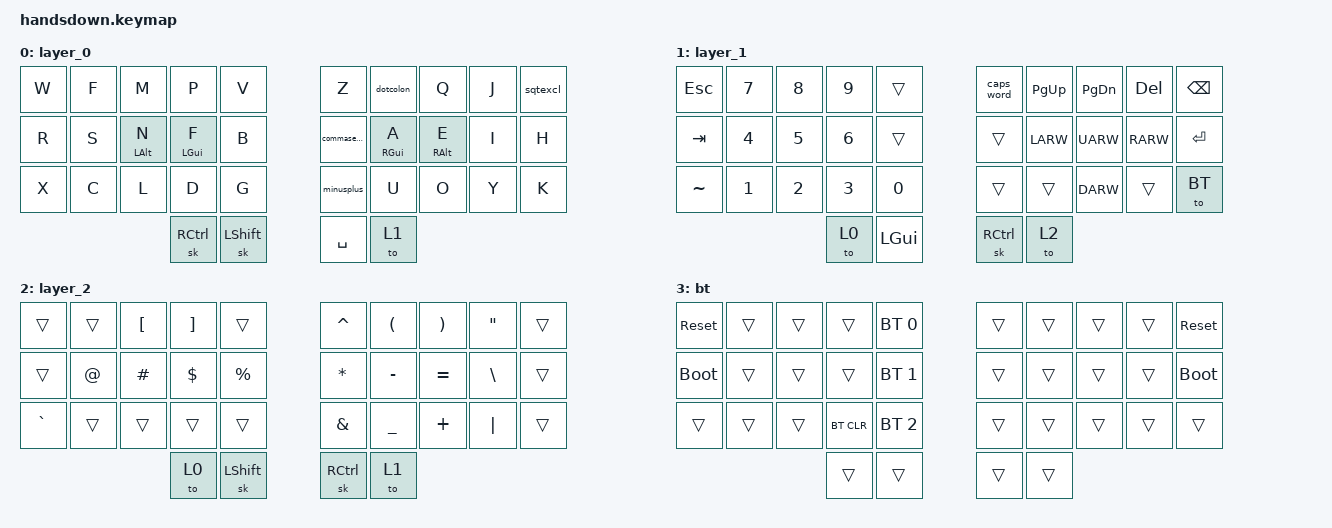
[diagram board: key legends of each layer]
/*
 * Copyright (c) 2020 The ZMK Contributors
 *
 * SPDX-License-Identifier: MIT
 */

#include <behaviors.dtsi>
#include <dt-bindings/zmk/keys.h>
#include <dt-bindings/zmk/bt.h>

#define BT 3


&mt {
    flavor = "tap-preferred";
    tapping_term_ms = <200>;
};

&mmv {
   time-to-max-speed-ms = <680>;
   acceleration-exponent=<1>;
};

/ {
    behaviors {
        hm: homerow_mods {
            compatible = "zmk,behavior-hold-tap";
            label = "HOMEROW_MODS";
            #binding-cells = <2>;
            tapping-term-ms = <200>;
            quick_tap_ms = <0>;
            flavor = "tap-preferred";
            bindings = <&kp>, <&kp>;
        };
	    td: tapdance {
            compatible = "zmk,behavior-hold-tap";
            label = "TAPDANCE";
            #binding-cells = <2>;
            tapping-term-ms = <150>;
            quick_tap_ms = <0>;
            flavor = "tap-preferred";
            bindings = <&kp>, <&kp>;
        };
        dotcolon: dot_colon {
            compatible = "zmk,behavior-mod-morph";
            label = "DOT_COLON";
            #binding-cells = <0>;
            bindings = <&kp DOT>, <&kp COLON>;
            mods = <(MOD_LSFT|MOD_RSFT)>;
        };
        sqtexcl: single_quote_excl {
            compatible = "zmk,behavior-mod-morph";
            label = "SINGLE_QUOTE_EXCL";
            #binding-cells = <0>;
            bindings = <&kp SQT>, <&kp EXCL>;
            mods = <(MOD_LSFT|MOD_RSFT)>;
        };
        commasemi: comma_semi {
            compatible = "zmk,behavior-mod-morph";
            label = "COMMA_SEMI";
            #binding-cells = <0>;
            bindings = <&kp COMMA>, <&kp SEMI>;
            mods = <(MOD_LSFT|MOD_RSFT)>;
        };
        minusplus: minus_plus {
            compatible = "zmk,behavior-mod-morph";
            label = "MINUS_PLUS";
            #binding-cells = <0>;
            bindings = <&kp MINUS>, <&kp PLUS>;
            mods = <(MOD_LSFT|MOD_RSFT)>;
        };
    };

	keymap {
        compatible = "zmk,keymap";
        layer_0 {
            bindings = <
        //╭──────────┬──────────┬──────────┬──────────┬──────────╮   ╭──────────┬──────────┬──────────┬──────────┬──────────╮
        //│  W       │  F       │  M       │  P       │  V       │   │  Z       │  . :     │  Q       │  J       │  ' !     │
            &kp W      &kp F      &kp M      &kp P      &kp V          &kp Z     &dotcolon   &kp Q      &kp J      &sqtexcl
        //├──────────┼──────────┼──────────┼──────────┼──────────┤   ├──────────┼──────────┼──────────┼──────────┼──────────┤
        //│  R       │  S       │  N       │  T       │  B       │   │  , ;     │  A       │  E       │  I       │ H        │
            &kp R      &kp S     &hm LALT N &hm LGUI F  &kp B         &commasemi &hm RGUI A &hm RALT E  &kp I      &kp H
        //├──────────┼──────────┼──────────┼──────────┼──────────┤   ├──────────┼──────────┼──────────┼──────────┼──────────┤
        //│  X       │  C       │  L       │  D       │  G       │   │  - +     │  U       │ O        │ Y        │ K        │
            &kp X      &kp C      &kp L      &kp D      &kp G         &minusplus  &kp U      &kp O      &kp Y      &kp K
        //╰──────────┴──────────┴──────────┼──────────┼──────────┤   ├──────────┼──────────┼──────────┴──────────┴──────────╯
                                            &sk RCTRL  &sk LSHIFT     &kp SPACE   &to 1
        //                                 ╰──────────┴──────────╯   ╰──────────┴──────────╯
            >;
        };

        layer_1 {
            bindings = <
        //╭──────────┬──────────┬──────────┬──────────┬──────────╮   ╭──────────┬──────────┬──────────┬──────────┬──────────╮
        //│ ESC      │  7       │  8       │  9       │          │   │ CAPS     │ PAGE UP  │ PAGE DN  │ DELETE   │  BKSP    │
            &kp ESC    &kp N7     &kp N8     &kp N9     &trans        &caps_word &kp PG_UP  &kp PG_DN   &kp DEL    &kp BKSP
        //├──────────┼──────────┼──────────┼──────────┼──────────┤   ├──────────┼──────────┼──────────┼──────────┼──────────┤
        //│ TAB      │  4       │  5       │  6       │          │   │          │ LEFT     │ UP       │ RIGHT    │  ENTER   │
            &kp TAB    &kp N4     &kp N5     &kp N6     &trans         &trans    &kp LARW   &kp UARW   &kp RARW   &kp ENTER
        //├──────────┼──────────┼──────────┼──────────┼──────────┤   ├──────────┼──────────┼──────────┼──────────┼──────────┤
        //│ ~        │  1       │  2       │  3       │  0       │   │          │          │ DOWN     │          │          │
           &kp TILDE   &kp N1     &kp N2     &kp N3     &kp N0         &trans     &trans     &kp DARW   &trans     &to BT
        //╰──────────┴──────────┴──────────┼──────────┼──────────┤   ├──────────┼──────────┼──────────┴──────────┴──────────╯
                                             &to 0      &kp LGUI       &sk RCTRL  &to 2
        //                                 ╰──────────┴──────────╯   ╰──────────┴──────────╯
            >;
		};
		
		layer_2 {
		    bindings = <
        //╭──────────┬──────────┬──────────┬──────────┬──────────╮   ╭──────────┬──────────┬──────────┬──────────┬──────────╮
        //│          │          │  [ {     │  ] }     │          │   │  ^       │  (       │  )       │  "       │          │
            &trans     &trans     &kp LBKT   &kp RBKT   &trans         &kp CARET  &kp LPAR   &kp RPAR   &kp DQT    &trans
        //├──────────┼──────────┼──────────┼──────────┼──────────┤   ├──────────┼──────────┼──────────┼──────────┼──────────┤
        //│          │  @       │  #       │  $       │  %       │   │  *       │  -       │  =       │  \       │          │
            &trans     &kp AT     &kp HASH   &kp DLLR   &kp PRCNT      &kp ASTRK  &kp MINUS  &kp EQUAL  &kp BSLH   &trans
        //├──────────┼──────────┼──────────┼──────────┼──────────┤   ├──────────┼──────────┼──────────┼──────────┼──────────┤
        //│  `       │          │          │          │          │   │  &       │  _       │  +       │  │       │          │
            &kp GRAVE  &trans     &trans     &trans     &trans         &kp AMPS   &kp UNDER  &kp PLUS   &kp PIPE   &trans
        //╰──────────┴──────────┴──────────┼──────────┼──────────┤   ├──────────┼──────────┼──────────┴──────────┴──────────╯
                                             &to 0     &sk LSHIFT      &sk RCTRL  &to 1
        //                                 ╰──────────┴──────────╯   ╰──────────┴──────────╯
            >;
		};

		bt {
            bindings = <
        //╭──────────┬──────────┬──────────┬──────────┬──────────╮   ╭──────────┬──────────┬──────────┬──────────┬──────────╮
        //│ RESET    │          │          │          │PROFILE 0 │   │          │          │          │          │  RESET   │
           &sys_reset  &trans     &trans     &trans    &bt BT_SEL 0    &trans     &trans     &trans     &trans    &sys_reset
        //├──────────┼──────────┼──────────┼──────────┼──────────┤   ├──────────┼──────────┼──────────┼──────────┼──────────┤
        //│BOOTLOADER│          │          │          │PROFILE 1 │   │          │          │          │          │BOOTLOADER│
          &bootloader  &trans     &trans     &trans    &bt BT_SEL 1    &trans     &trans     &trans     &trans    &bootloader
        //├──────────┼──────────┼──────────┼──────────┼──────────┤   ├──────────┼──────────┼──────────┼──────────┼──────────┤
        //│          │          │          │ CLEAR BT │PROFILE 2 │   │          │          │          │          │          │
            &trans     &trans     &trans    &bt BT_CLR &bt BT_SEL 2    &trans     &trans     &trans     &trans     &trans
        //╰──────────┴──────────┴──────────┼──────────┼──────────┤   ├──────────┼──────────┼──────────┴──────────┴──────────╯
                                             &trans     &trans         &trans     &trans
        //                                 ╰──────────┴──────────╯   ╰──────────┴──────────╯
            >;
		};	
        
	};
};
